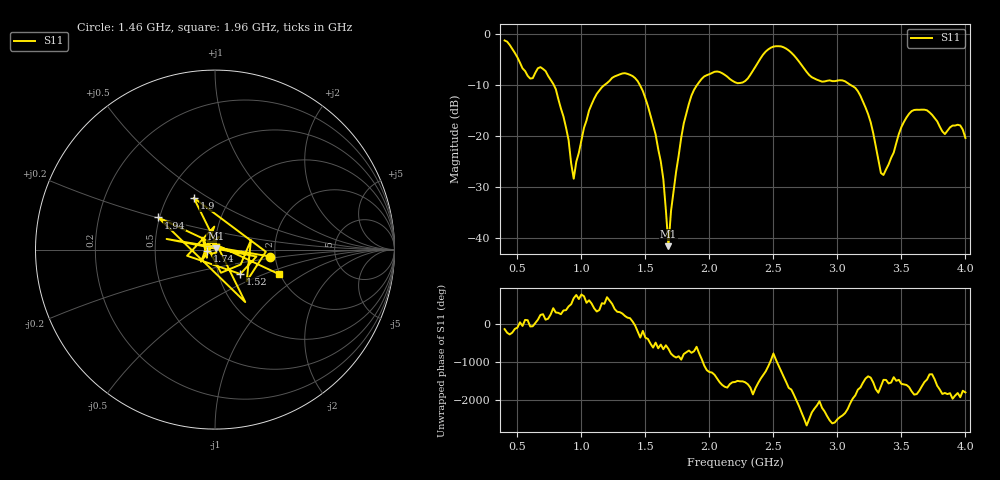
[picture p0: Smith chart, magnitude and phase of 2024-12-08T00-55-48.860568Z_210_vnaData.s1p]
!Created with skrf (http://scikit-rf.org).
# Hz S RI R 50.0
!freq ReS11 ImS11
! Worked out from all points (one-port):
!   181 points, 400 MHz to 4 GHz, reference 50 ohm
!   lowest |S11| = -41.6 dB at 1.68 GHz (marker M1), VSWR 1.02, Z = 50.4 + j0.709 ohm
!   |S11| at or under -10 dB: 784.2 MHz to 1.18 GHz (396.1 MHz wide, 40.3 % of centre); 1.457 GHz to 1.904 GHz (447.1 MHz wide, 26.6 % of centre); 3.103 GHz to end of sweep
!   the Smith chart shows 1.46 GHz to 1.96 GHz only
!   S11 on the Smith chart (normalised r, x): 1.46 GHz: 1.88, -0.16; 1.52 GHz: 1.27, -0.36; 1.74 GHz: 0.92, -0.02; 1.9 GHz: 0.68, +0.43; 1.94 GHz: 0.49, +0.20; 1.96 GHz: 1.98, -0.64
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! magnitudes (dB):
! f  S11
! 400 MHz  -1.3
! 600 MHz  -8.7
! 720 MHz  -7.3
! 860 MHz  -16.2
! 940 MHz  -28.4
! 1.08 GHz  -13.8
! 1.3 GHz  -7.9
! 1.46 GHz  -10.1
! 1.52 GHz  -14.2
! 1.62 GHz  -25.0
! 1.68 GHz  -41.6
! 1.74 GHz  -27.0
! 1.76 GHz  -23.9
! 1.8 GHz  -17.5
! 1.9 GHz  -10.1
! 1.94 GHz  -8.8
! 1.96 GHz  -8.3
! 2.2 GHz  -9.5
! 2.48 GHz  -2.7
! 2.66 GHz  -4.2
! 2.8 GHz  -8.5
! 3.1 GHz  -10.0
! 3.24 GHz  -15.7
! 3.36 GHz  -27.7
! 3.56 GHz  -15.7
! 3.7 GHz  -15.0
! 3.84 GHz  -19.6
! 4 GHz  -20.4
